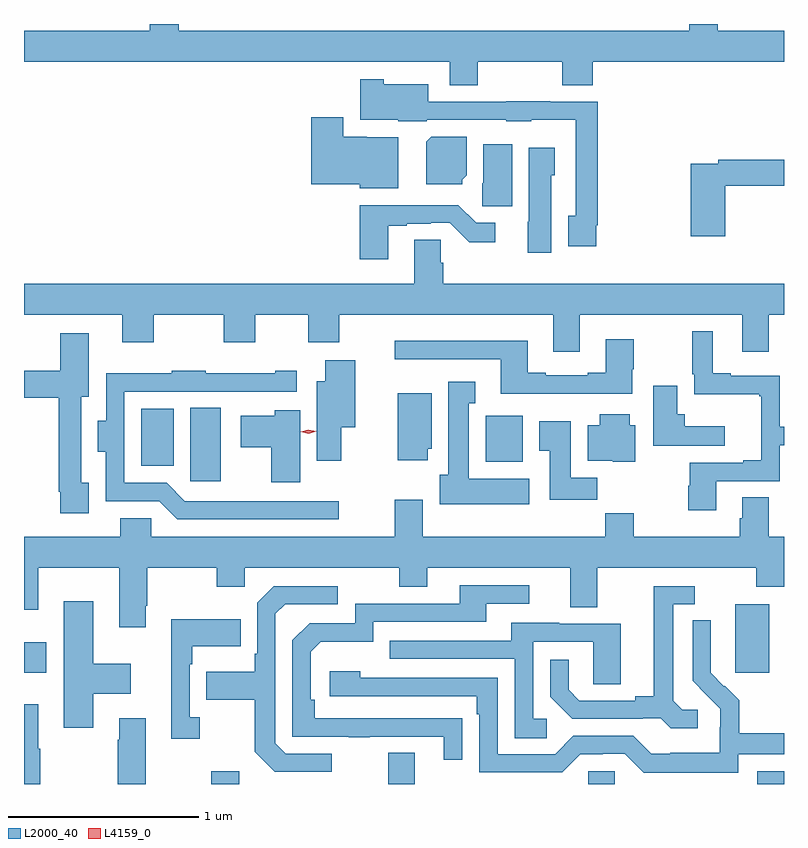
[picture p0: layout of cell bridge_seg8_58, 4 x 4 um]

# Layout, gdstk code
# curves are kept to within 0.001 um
import gdstk
lib = gdstk.Library(unit=1e-6, precision=1e-09)
def R(c, l, rs):  # rectangles x0, y0, x1, y1
    for r in rs: c.add(gdstk.rectangle(r[:2], r[2:], *l))
def P(c, l, *ps):  # polygons
    for p in ps: c.add(gdstk.Polygon(p, *l))
L2000_40 = (2000, 40)
L4159_0 = (4159, 0)

bridge_seg8_58 = lib.new_cell('bridge_seg8_58')
R(bridge_seg8_58, L2000_40, [(1116.52,1098.047,1116.667,1098.115), (1117.451,1098.047,1117.591,1098.211), (1118.505,1098.047,1118.643,1098.114), (1119.395,1098.047,1119.535,1098.115), (1115.535,1098.632,1115.653,1098.793), (1119.278,1098.633,1119.457,1098.994), (1116.41,1099.641,1116.571,1100.027), (1116.152,1099.721,1116.322,1100.023), (1117.964,1099.742,1118.161,1099.984)])
P(bridge_seg8_58, L2000_40, [(1117.923,1101.848),(1118.368,1101.848),(1118.368,1101.724),(1118.528,1101.724),(1118.528,1101.848),(1119.535,1101.848),(1119.535,1102.012),(1119.187,1102.012),(1119.187,1102.047),(1119.035,1102.047),(1119.035,1102.012),(1116.35,1102.012),(1116.35,1102.047),(1116.197,1102.047),(1116.197,1102.012),(1115.535,1102.012),(1115.535,1101.848),(1117.775,1101.848),(1117.775,1101.724),(1117.923,1101.724)],
  [(1118.548,1100.989),(1118.555,1100.989),(1118.555,1101.639),(1118.305,1101.639),(1118.305,1101.641),(1118.073,1101.641),(1118.073,1101.639),(1117.663,1101.639),(1117.663,1101.73),(1117.428,1101.73),(1117.428,1101.757),(1117.304,1101.757),(1117.304,1101.542),(1117.506,1101.542),(1117.506,1101.536),(1117.656,1101.536),(1117.656,1101.543),(1118.073,1101.543),(1118.073,1101.536),(1118.205,1101.536),(1118.205,1101.542),(1118.439,1101.542),(1118.439,1101.038),(1118.399,1101.038),(1118.399,1100.877),(1118.548,1100.877)],
  [(1117.504,1101.452),(1117.338,1101.452),(1117.338,1101.454),(1117.216,1101.454),(1117.216,1101.556),(1117.046,1101.556),(1117.046,1101.203),(1117.302,1101.203),(1117.302,1101.182),(1117.504,1101.182)],
  [(1117.842,1101.228),(1117.864,1101.25),(1117.864,1101.454),(1117.678,1101.454),(1117.652,1101.428),(1117.652,1101.203),(1117.842,1101.203)],
  [(1118.104,1101.415),(1117.952,1101.415),(1117.952,1101.21),(1117.948,1101.21),(1117.948,1101.087),(1118.104,1101.087)],
  [(1118.311,1101.252),(1118.329,1101.252),(1118.329,1101.397),(1118.192,1101.397),(1118.192,1101.006),(1118.186,1101.006),(1118.186,1100.844),(1118.311,1100.844)],
  [(1119.227,1101.196),(1119.535,1101.196),(1119.535,1101.332),(1119.19,1101.332),(1119.19,1101.312),(1119.044,1101.312),(1119.044,1100.931),(1119.227,1100.931)],
  [(1117.453,1100.985),(1117.549,1100.985),(1117.549,1100.997),(1117.676,1100.997),(1117.676,1101),(1117.776,1101),(1117.879,1100.898),(1118.014,1100.898),(1118.014,1101),(1117.914,1101),(1117.82,1101.094),(1117.301,1101.094),(1117.301,1100.808),(1117.453,1100.808)],
  [(1118.461,1100.516),(1119.314,1100.516),(1119.314,1100.322),(1119.454,1100.322),(1119.454,1100.516),(1119.535,1100.516),(1119.535,1100.68),(1117.742,1100.68),(1117.742,1100.79),(1117.728,1100.79),(1117.728,1100.912),(1117.589,1100.912),(1117.589,1100.68),(1115.535,1100.68),(1115.535,1100.516),(1116.053,1100.516),(1116.053,1100.373),(1116.217,1100.373),(1116.217,1100.516),(1116.587,1100.516),(1116.587,1100.373),(1116.751,1100.373),(1116.751,1100.516),(1117.031,1100.516),(1117.031,1100.373),(1117.195,1100.373),(1117.195,1100.516),(1118.321,1100.516),(1118.321,1100.322),(1118.461,1100.322)],
  [(1119.178,1099.641),(1119.513,1099.641),(1119.513,1099.83),(1119.535,1099.83),(1119.535,1099.926),(1119.513,1099.926),(1119.513,1100.196),(1119.256,1100.196),(1119.256,1100.209),(1119.16,1100.209),(1119.16,1100.431),(1119.051,1100.431),(1119.051,1100.203),(1119.063,1100.203),(1119.063,1100.099),(1119.405,1100.099),(1119.405,1100.088),(1119.416,1100.088),(1119.416,1099.75),(1119.32,1099.75),(1119.32,1099.737),(1119.038,1099.737),(1119.038,1099.617),(1119.031,1099.617),(1119.031,1099.488),(1119.178,1099.488)],
  [(1115.875,1099.633),(1115.835,1099.633),(1115.835,1100.084),(1115.875,1100.084),(1115.875,1100.419),(1115.726,1100.419),(1115.726,1100.223),(1115.535,1100.223),(1115.535,1100.081),(1115.719,1100.081),(1115.719,1099.585),(1115.727,1099.585),(1115.727,1099.473),(1115.875,1099.473)],
  [(1118.737,1100.23),(1118.745,1100.23),(1118.745,1100.389),(1118.597,1100.389),(1118.597,1100.212),(1118.501,1100.212),(1118.501,1100.199),(1118.281,1100.199),(1118.281,1100.212),(1118.185,1100.212),(1118.185,1100.38),(1117.485,1100.38),(1117.485,1100.283),(1118.045,1100.283),(1118.045,1100.102),(1118.737,1100.102)],
  [(1117.204,1099.925),(1117.279,1099.925),(1117.279,1100.278),(1117.121,1100.278),(1117.121,1100.167),(1117.076,1100.167),(1117.076,1099.749),(1117.204,1099.749)],
  [(1117.192,1099.536),(1116.381,1099.536),(1116.285,1099.632),(1116.063,1099.632),(1116.063,1100.112),(1116.97,1100.112),(1116.97,1100.221),(1116.857,1100.221),(1116.857,1100.209),(1116.491,1100.209),(1116.491,1100.221),(1116.313,1100.221),(1116.313,1100.209),(1115.967,1100.209),(1115.967,1099.96),(1115.924,1099.96),(1115.924,1099.796),(1115.966,1099.796),(1115.966,1099.536),(1116.246,1099.536),(1116.342,1099.44),(1117.192,1099.44)],
  [(1118.194,1099.654),(1117.876,1099.654),(1117.876,1100.051),(1117.909,1100.051),(1117.909,1100.164),(1117.769,1100.164),(1117.769,1099.674),(1117.724,1099.674),(1117.724,1099.52),(1118.194,1099.52)],
  [(1119.223,1099.93),(1119.013,1099.93),(1119.013,1099.993),(1118.974,1099.993),(1118.974,1100.143),(1118.846,1100.143),(1118.846,1099.826),(1119.223,1099.826)],
  [(1117.66,1099.812),(1117.681,1099.812),(1117.681,1100.104),(1117.502,1100.104),(1117.502,1099.752),(1117.66,1099.752)],
  [(1116.988,1100.014),(1116.854,1100.014),(1116.854,1099.984),(1116.675,1099.984),(1116.675,1099.82),(1116.836,1099.82),(1116.836,1099.634),(1116.988,1099.634)],
  [(1118.752,1099.936),(1118.722,1099.936),(1118.722,1099.993),(1118.564,1099.993),(1118.564,1099.936),(1118.501,1099.936),(1118.501,1099.748),(1118.634,1099.748),(1118.634,1099.742),(1118.752,1099.742)],
  [(1118.552,1099.66),(1118.413,1099.66),(1118.413,1099.957),(1118.246,1099.957),(1118.246,1099.801),(1118.303,1099.801),(1118.303,1099.542),(1118.552,1099.542)],
  [(1116.175,1098.985),(1116.183,1098.985),(1116.183,1099.184),(1116.55,1099.184),(1116.55,1099.085),(1116.696,1099.085),(1116.696,1099.184),(1117.51,1099.184),(1117.51,1099.085),(1117.657,1099.085),(1117.657,1099.184),(1118.411,1099.184),(1118.411,1098.976),(1118.551,1098.976),(1118.551,1099.184),(1119.388,1099.184),(1119.388,1099.085),(1119.535,1099.085),(1119.535,1099.348),(1119.454,1099.348),(1119.454,1099.556),(1119.314,1099.556),(1119.314,1099.446),(1119.302,1099.446),(1119.302,1099.348),(1118.745,1099.348),(1118.745,1099.472),(1118.593,1099.472),(1118.593,1099.348),(1117.633,1099.348),(1117.633,1099.543),(1117.486,1099.543),(1117.486,1099.348),(1116.204,1099.348),(1116.204,1099.446),(1116.041,1099.446),(1116.041,1099.348),(1115.535,1099.348),(1115.535,1098.963),(1115.611,1098.963),(1115.611,1099.184),(1116.035,1099.184),(1116.035,1098.873),(1116.175,1098.873)],
  [(1117.841,1098.392),(1117.064,1098.393),(1117.064,1098.49),(1117.044,1098.49),(1117.044,1098.744),(1117.097,1098.797),(1117.374,1098.797),(1117.374,1098.9),(1117.969,1098.9),(1117.969,1098.996),(1118.194,1098.996),(1118.194,1099.092),(1117.829,1099.092),(1117.829,1098.996),(1117.278,1098.996),(1117.278,1098.894),(1117.038,1098.894),(1116.948,1098.804),(1116.948,1098.297),(1117.243,1098.297),(1117.243,1098.292),(1117.355,1098.292),(1117.355,1098.297),(1117.745,1098.297),(1117.745,1098.174),(1117.841,1098.174)],
  [(1117.156,1098.207),(1116.912,1098.207),(1116.858,1098.261),(1116.858,1098.942),(1116.909,1098.993),(1117.186,1098.993),(1117.186,1099.089),(1116.849,1099.089),(1116.762,1099.002),(1116.762,1098.733),(1116.75,1098.733),(1116.75,1098.637),(1116.493,1098.637),(1116.493,1098.49),(1116.75,1098.49),(1116.75,1098.217),(1116.855,1098.111),(1117.156,1098.111)],
  [(1119.082,1098.438),(1119,1098.438),(1118.953,1098.485),(1118.953,1098.993),(1119.064,1098.993),(1119.064,1099.089),(1118.849,1099.089),(1118.849,1098.509),(1118.753,1098.509),(1118.753,1098.486),(1118.458,1098.486),(1118.401,1098.543),(1118.401,1098.7),(1118.304,1098.7),(1118.304,1098.506),(1118.42,1098.39),(1118.792,1098.39),(1118.792,1098.393),(1118.886,1098.393),(1118.938,1098.341),(1119.082,1098.341)],
  [(1115.899,1098.521),(1116.097,1098.521),(1116.097,1098.679),(1115.899,1098.679),(1115.899,1099.009),(1115.744,1099.009),(1115.744,1098.342),(1115.899,1098.342)],
  [(1116.46,1098.398),(1116.408,1098.398),(1116.408,1098.677),(1116.421,1098.677),(1116.421,1098.773),(1116.677,1098.773),(1116.677,1098.913),(1116.311,1098.913),(1116.311,1098.285),(1116.46,1098.285)],
  [(1119.294,1098.204),(1119.535,1098.204),(1119.535,1098.313),(1119.299,1098.313),(1119.299,1098.487),(1119.222,1098.564),(1119.219,1098.561),(1119.149,1098.632),(1119.15,1098.908),(1119.054,1098.908),(1119.054,1098.59),(1119.2,1098.442),(1119.2,1098.345),(1119.198,1098.345),(1119.198,1098.211),(1118.935,1098.211),(1118.935,1098.207),(1118.835,1098.207),(1118.742,1098.3),(1118.427,1098.3),(1118.331,1098.204),(1118.028,1098.204),(1118.028,1098.606),(1117.304,1098.606),(1117.304,1098.64),(1117.143,1098.64),(1117.143,1098.51),(1117.919,1098.51),(1117.919,1098.413),(1117.932,1098.413),(1117.932,1098.108),(1118.367,1098.108),(1118.463,1098.204),(1118.582,1098.204),(1118.582,1098.207),(1118.697,1098.207),(1118.797,1098.107),(1119.294,1098.107)],
  [(1118.287,1098.39),(1118.214,1098.39),(1118.214,1098.795),(1118.532,1098.795),(1118.532,1098.571),(1118.677,1098.571),(1118.677,1098.891),(1118.353,1098.891),(1118.353,1098.895),(1118.099,1098.895),(1118.099,1098.801),(1117.459,1098.801),(1117.459,1098.705),(1118.118,1098.705),(1118.118,1098.289),(1118.287,1098.289)],
  [(1115.621,1098.233),(1115.611,1098.233),(1115.611,1098.466),(1115.535,1098.466),(1115.535,1098.047),(1115.621,1098.047)],
  [(1116.175,1098.394),(1116.035,1098.394),(1116.035,1098.281),(1116.028,1098.281),(1116.028,1098.047),(1116.175,1098.047)])
P(bridge_seg8_58, L4159_0, [(1117.033,1099.891),(1116.992,1099.9),(1116.992,1099.9),(1116.992,1099.9),(1117.032,1099.911),(1117.073,1099.903),(1117.073,1099.903),(1117.073,1099.903)])

lib.write_gds('bridge_seg8_58.gds')
